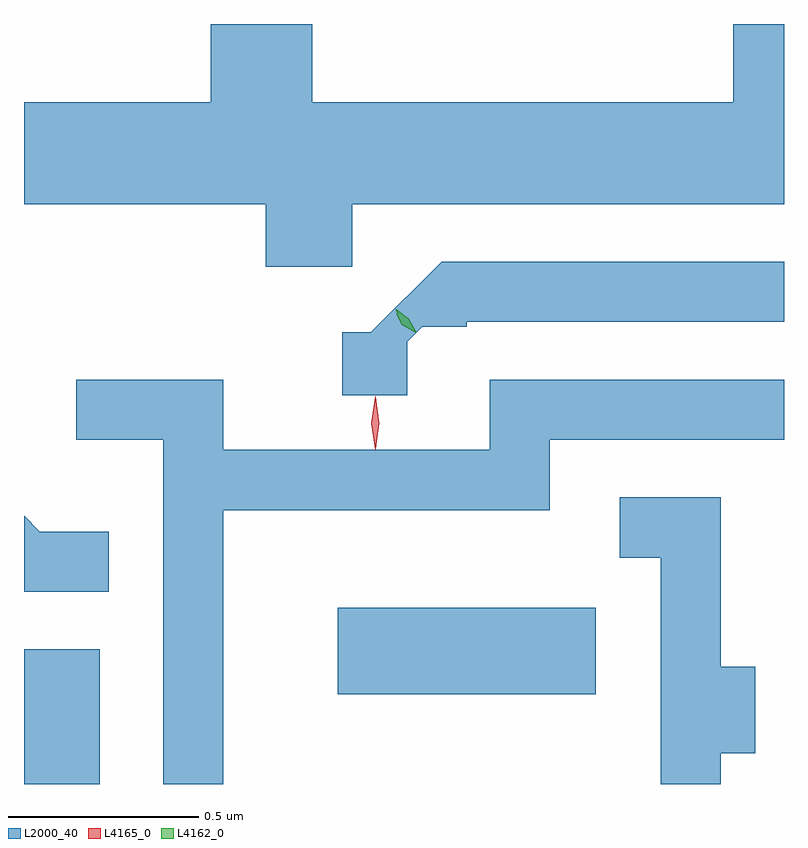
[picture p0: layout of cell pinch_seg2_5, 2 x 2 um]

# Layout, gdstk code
import gdstk
lib = gdstk.Library(unit=1e-6, precision=1e-09)
def R(c, l, rs):  # rectangles x0, y0, x1, y1
    for r in rs: c.add(gdstk.rectangle(r[:2], r[2:], *l))
def P(c, l, *ps):  # polygons
    for p in ps: c.add(gdstk.Polygon(p, *l))
L2000_40 = (2000, 40)
L4162_0 = (4162, 0)
L4165_0 = (4165, 0)

pinch_seg2_5 = lib.new_cell('pinch_seg2_5')
R(pinch_seg2_5, L2000_40, [(1902.895,1073.43,1903.094,1073.784), (1903.721,1073.666,1904.399,1073.894)])
P(pinch_seg2_5, L2000_40, [(1903.759,1074.956),(1904.895,1074.956),(1904.895,1075.43),(1904.761,1075.43),(1904.761,1075.224),(1903.654,1075.224),(1903.654,1075.43),(1903.386,1075.43),(1903.386,1075.224),(1902.895,1075.224),(1902.895,1074.956),(1903.531,1074.956),(1903.531,1074.791),(1903.759,1074.791)],
  [(1903.904,1074.594),(1903.943,1074.633),(1904.06,1074.633),(1904.06,1074.646),(1904.895,1074.646),(1904.895,1074.804),(1903.994,1074.804),(1903.9,1074.71),(1903.899,1074.711),(1903.807,1074.619),(1903.733,1074.619),(1903.733,1074.453),(1903.904,1074.453)],
  [(1903.419,1074.151),(1904.279,1074.151),(1904.279,1074.336),(1904.895,1074.336),(1904.895,1074.494),(1904.121,1074.494),(1904.121,1074.309),(1903.419,1074.309),(1903.419,1074.494),(1903.033,1074.494),(1903.033,1074.336),(1903.261,1074.336),(1903.261,1073.43),(1903.419,1073.43)],
  [(1904.729,1073.511),(1904.819,1073.511),(1904.819,1073.739),(1904.729,1073.739),(1904.729,1074.184),(1904.463,1074.184),(1904.463,1074.026),(1904.571,1074.026),(1904.571,1073.43),(1904.729,1073.43)],
  [(1903.118,1074.094),(1902.937,1074.094),(1902.895,1074.136),(1902.895,1073.936),(1903.118,1073.936)])
P(pinch_seg2_5, L4162_0, [(1903.926,1074.618),(1903.892,1074.642),(1903.873,1074.678),(1903.873,1074.679),(1903.874,1074.679),(1903.907,1074.655),(1903.927,1074.619),(1903.927,1074.618)],
  [(1903.919,1074.621),(1903.889,1074.638),(1903.874,1074.668),(1903.874,1074.669),(1903.874,1074.669),(1903.904,1074.652),(1903.919,1074.622),(1903.919,1074.621)])
P(pinch_seg2_5, L4165_0, [(1903.819,1074.31),(1903.819,1074.311),(1903.809,1074.38),(1903.819,1074.449),(1903.819,1074.45),(1903.82,1074.449),(1903.829,1074.38),(1903.82,1074.311)],
  [(1903.82,1074.313),(1903.82,1074.314),(1903.81,1074.38),(1903.82,1074.446),(1903.82,1074.447),(1903.821,1074.446),(1903.83,1074.38),(1903.821,1074.314)])

lib.write_gds('pinch_seg2_5.gds')
